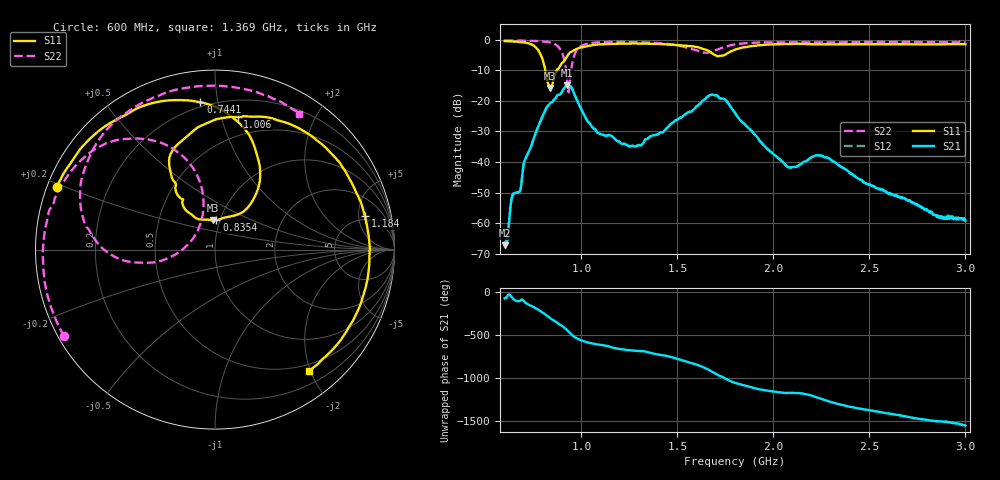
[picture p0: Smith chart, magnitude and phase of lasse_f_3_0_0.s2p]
#  HZ  S  RI  R  50.00
! Rohde & Schwarz ZVB8 2Ports - Version 2.81 - 1145.1010k08 SN: 100113
! Date: 2016-05-04 02:49:11
! Measurements: S11 S21 S12 S22
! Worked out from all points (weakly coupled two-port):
!   1000 points, 600 MHz to 3 GHz, reference 50 ohm
!   highest |S21| = -14.89 dB at 926.7 MHz (marker M1); lowest = -67.3 dB at 600 MHz (marker M2)
!   lowest |S11| = -15.8 dB at 837.8 MHz (marker M3), VSWR 1.39, Z = 46.3 + j15.4 ohm
!   |S11| at or under -10 dB: 811.9 MHz to 870.9 MHz (58.95 MHz wide, 7.01 % of centre)
!   |S22| runs from -17.3 to -0.3 dB; largest |S21 - S12| = 0.0018
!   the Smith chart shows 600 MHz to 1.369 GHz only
!   S11 on the Smith chart (normalised r, x): 600 MHz: 0.03, +0.19; 744.1 MHz: 0.17, +0.89; 835.4 MHz: 0.96, +0.32; 1.006 GHz: 0.33, +1.13; 1.184 GHz: 4.36, +6.05; 1.369 GHz: 0.39, -1.98
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6e8  -0.8822 0.3476  9.84e-05 -0.000419  5.56e-05 -0.000415  -0.8417 -0.4824
6.408408e8  -0.7586 0.5495  0.000812 -0.00278  0.000809 -0.00268  -0.9082 -0.3347
7.441441e8  -0.0817 0.8207  -0.0202 -0.00394  -0.0201 -0.00408  -0.9521 0.0769
7.921922e8  0.2494 0.4651  -0.031 0.0408  -0.0312 0.0405  -0.8936 0.2847
8.354354e8  0.00762 0.1635  0.0481 0.0756  0.0479 0.0755  -0.7639 0.4806
8.378378e8  -0.0126 0.1623  0.0544 0.0737  0.054 0.074  -0.7528 0.4916
8.906907e8  -0.2135 0.3133  0.1171 -0.0527  0.1173 -0.0515  -0.334 0.605
9.267267e8  -0.2553 0.4746  0.00527 -0.18  0.00672 -0.1794  -0.0688 0.1928
9.555556e8  -0.1483 0.6376  -0.1286 -0.0735  -0.1281 -0.0745  -0.447 -0.0716
1.001201e9  0.1 0.7408  -0.0633 0.0295  -0.0637 0.0291  -0.7506 0.2654
1.006006e9  0.1254 0.7415  -0.0576 0.0323  -0.058 0.0319  -0.752 0.3
1.183784e9  0.8359 0.1852  0.0103 0.0197  0.0102 0.0197  -0.2341 0.8868
1.368769e9  0.5235 -0.6764  0.0267 0.00378  0.0267 0.00381  0.4699 0.7582
1.4e9  0.3902 -0.7542  0.0284 -0.00294  0.0284 -0.00274  0.5669 0.6743
1.673874e9  -0.5188 -0.3352  -0.1188 0.0372  -0.1195 0.036  0.629 -0.00797
1.801201e9  -0.6166 -0.3105  0.0573 0.0257  0.057 0.026  0.753 -0.3667
1.976577e9  -0.77 0.3252  0.00601 -0.0144  0.0062 -0.0142  0.3071 -0.8466
2.2e9  -0.065 0.8376  -0.00647 -0.0101  -0.00644 -0.0102  -0.3817 -0.819
2.425826e9  0.7275 0.4203  -0.000613 0.00567  -0.000731 0.00571  -0.8058 -0.4265
2.601201e9  0.7769 -0.3216  0.00259 0.00152  0.00262 0.00151  -0.9148 -0.0249
2.798198e9  0.172 -0.818  0.00121 -0.00118  0.00123 -0.00114  -0.8132 0.41
3e9  -0.5318 -0.6531  -0.000336 -0.00104  -0.000291 -0.00108  -0.5139 0.7409
